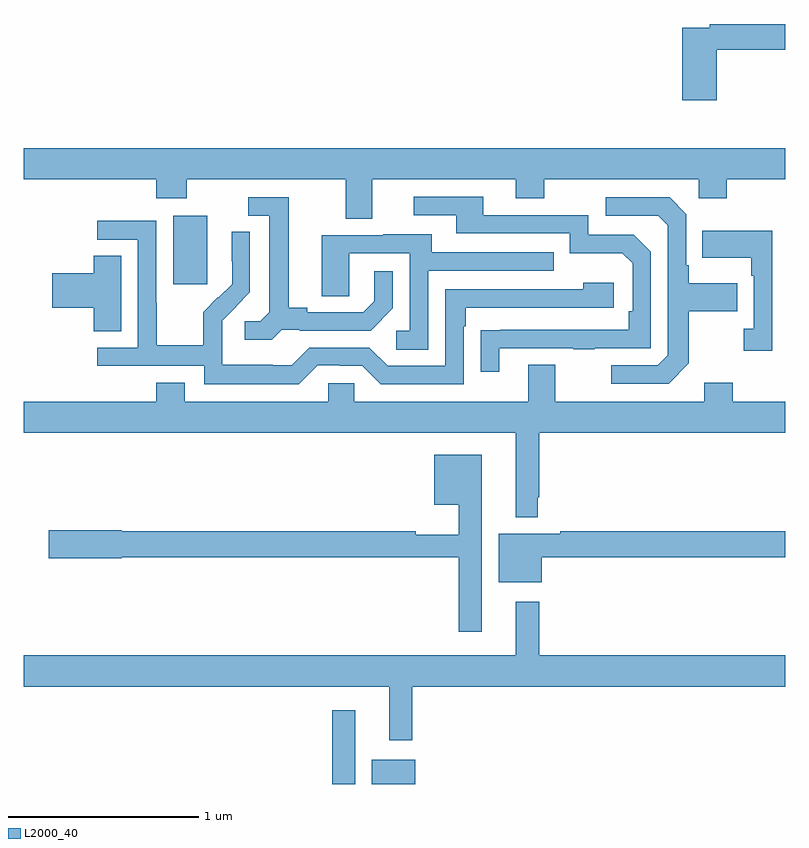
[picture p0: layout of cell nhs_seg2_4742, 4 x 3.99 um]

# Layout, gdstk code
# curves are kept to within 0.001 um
import gdstk
lib = gdstk.Library(unit=1e-6, precision=1e-09)
def R(c, l, rs):  # rectangles x0, y0, x1, y1
    for r in rs: c.add(gdstk.rectangle(r[:2], r[2:], *l))
def P(c, l, *ps):  # polygons
    for p in ps: c.add(gdstk.Polygon(p, *l))
L2000_40 = (2000, 40)

nhs_seg2_4742 = lib.new_cell('nhs_seg2_4742')
R(nhs_seg2_4742, L2000_40, [(370.62,637.8,370.741,638.188), (370.829,637.8,371.056,637.927), (369.785,640.425,369.964,640.786)])
P(nhs_seg2_4742, L2000_40, [(372.641,641.656),(373,641.656),(373,641.792),(372.604,641.792),(372.604,641.772),(372.458,641.772),(372.458,641.391),(372.641,641.391)],
  [(370.831,640.976),(371.585,640.976),(371.585,640.877),(371.733,640.877),(371.733,640.976),(372.546,640.976),(372.546,640.877),(372.693,640.877),(372.693,640.976),(373,640.976),(373,641.14),(369,641.14),(369,640.976),(369.695,640.976),(369.695,640.877),(369.855,640.877),(369.855,640.976),(370.691,640.976),(370.691,640.768),(370.831,640.768)],
  [(371.497,640.089),(371.887,640.089),(371.887,640.084),(371.999,640.084),(371.999,640.089),(372.294,640.089),(372.294,640.596),(372.204,640.686),(371.964,640.686),(371.964,640.788),(371.413,640.788),(371.413,640.884),(371.049,640.884),(371.049,640.788),(371.273,640.788),(371.273,640.692),(371.868,640.692),(371.868,640.589),(372.145,640.589),(372.198,640.536),(372.198,640.282),(372.178,640.282),(372.178,640.185),(371.401,640.184),(371.401,639.966),(371.497,639.966)],
  [(372.493,640.009),(372.493,640.282),(372.749,640.282),(372.749,640.429),(372.493,640.429),(372.493,640.525),(372.48,640.525),(372.48,640.794),(372.393,640.881),(372.057,640.881),(372.057,640.785),(372.333,640.785),(372.384,640.734),(372.384,640.053),(372.33,639.999),(372.087,639.999),(372.087,639.903),(372.387,639.903)],
  [(370.356,640.185),(370.45,640.185),(370.45,640.182),(370.822,640.182),(370.938,640.298),(370.938,640.492),(370.841,640.492),(370.841,640.335),(370.784,640.278),(370.489,640.278),(370.489,640.301),(370.393,640.301),(370.393,640.881),(370.179,640.881),(370.179,640.785),(370.289,640.785),(370.289,640.277),(370.242,640.23),(370.161,640.23),(370.161,640.133),(370.304,640.133)],
  [(370.545,639.999),(370.661,639.999),(370.661,639.996),(370.779,639.996),(370.875,639.9),(371.31,639.9),(371.31,640.205),(371.323,640.205),(371.323,640.302),(372.1,640.302),(372.1,640.432),(371.939,640.432),(371.939,640.398),(371.214,640.398),(371.214,639.996),(370.911,639.996),(370.815,640.092),(370.5,640.092),(370.407,639.999),(370.307,639.999),(370.307,640.003),(370.044,640.003),(370.044,640.137),(370.042,640.137),(370.042,640.234),(370.188,640.382),(370.188,640.7),(370.092,640.7),(370.092,640.546),(370.094,640.546),(370.094,640.424),(370.023,640.353),(370.02,640.356),(369.943,640.279),(369.943,640.105),(369.699,640.105),(369.699,640.328),(369.696,640.328),(369.696,640.758),(369.387,640.758),(369.387,640.659),(369.6,640.659),(369.6,640.092),(369.387,640.092),(369.387,639.996),(369.948,639.996),(369.948,639.899),(370.445,639.899)],
  [(372.932,640.705),(372.565,640.705),(372.565,640.565),(372.822,640.565),(372.822,640.469),(372.834,640.469),(372.834,640.19),(372.783,640.19),(372.783,640.077),(372.932,640.077)],
  [(371.124,640.497),(371.783,640.497),(371.783,640.593),(371.143,640.593),(371.143,640.687),(370.889,640.687),(370.889,640.683),(370.565,640.683),(370.565,640.363),(370.71,640.363),(370.71,640.587),(371.028,640.587),(371.028,640.182),(370.956,640.182),(370.956,640.081),(371.124,640.081)],
  [(369.511,640.574),(369.368,640.574),(369.368,640.484),(369.15,640.484),(369.15,640.301),(369.368,640.301),(369.368,640.177),(369.511,640.177)],
  [(371.7,639.307),(371.707,639.307),(371.707,639.644),(373,639.644),(373,639.808),(372.723,639.808),(372.723,639.907),(372.575,639.907),(372.575,639.808),(371.791,639.808),(371.791,640.003),(371.651,640.003),(371.651,639.808),(370.737,639.808),(370.737,639.906),(370.599,639.906),(370.599,639.808),(369.847,639.808),(369.847,639.907),(369.695,639.907),(369.695,639.808),(369,639.808),(369,639.644),(371.585,639.644),(371.585,639.2),(371.7,639.2)],
  [(371.407,639.529),(371.156,639.529),(371.156,639.266),(371.286,639.266),(371.286,639.109),(371.06,639.109),(371.06,639.128),(369.516,639.128),(369.516,639.134),(369.132,639.134),(369.132,638.987),(369.516,638.987),(369.516,638.992),(371.286,638.992),(371.286,638.601),(371.407,638.601)],
  [(371.722,638.992),(373,638.992),(373,639.128),(371.818,639.128),(371.818,639.115),(371.495,639.115),(371.495,638.861),(371.722,638.861)],
  [(371.041,638.312),(373,638.312),(373,638.476),(371.707,638.476),(371.707,638.758),(371.585,638.758),(371.585,638.476),(369,638.476),(369,638.312),(370.919,638.312),(370.919,638.031),(371.041,638.031)])

lib.write_gds('nhs_seg2_4742.gds')
